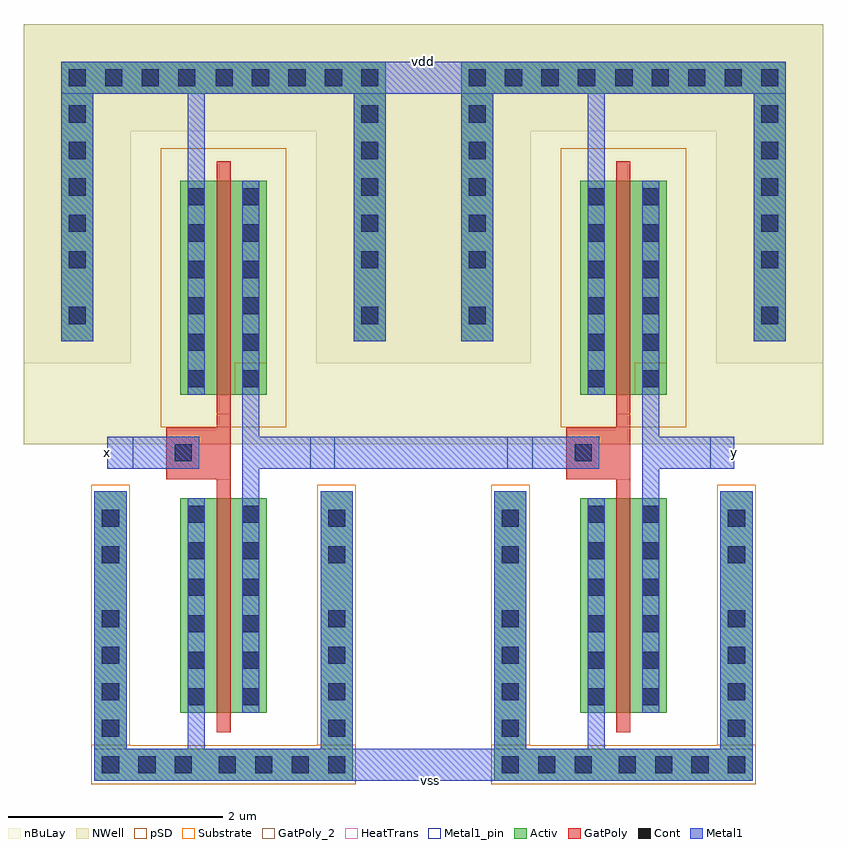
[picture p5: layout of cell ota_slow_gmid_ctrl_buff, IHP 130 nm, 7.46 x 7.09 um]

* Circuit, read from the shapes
.subckt ota_slow_gmid_ctrl_buff vdd vss x y
XM1 ota_slow_gmid_ctrl_inv_1/x x vss vss sg13_lv_nmos w=2u l=0.13u
XM2 y ota_slow_gmid_ctrl_inv_1/x vss vss sg13_lv_nmos w=2u l=0.13u
XM3 ota_slow_gmid_ctrl_inv_1/x x vdd vdd sg13_lv_pmos w=2u l=0.13u
XM4 y ota_slow_gmid_ctrl_inv_1/x vdd vdd sg13_lv_pmos w=2u l=0.13u
.ends

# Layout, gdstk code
import gdstk
lib = gdstk.Library(unit=1e-6, precision=1e-09)
def R(c, l, rs):  # rectangles x0, y0, x1, y1
    for r in rs: c.add(gdstk.rectangle(r[:2], r[2:], *l))
def A(c, l, x, y, w, h, nx, ny, dx, dy):  # array of equal rectangles
    R(c, l, [(x+i*dx, y+j*dy, x+i*dx+w, y+j*dy+h) for i in range(nx) for j in range(ny)])
Activ = (1, 0)
GatPoly = (5, 0)
GatPoly_2 = (5, 2)
Cont = (6, 0)
Metal1 = (8, 0)
Metal1_pin = (8, 2)
pSD = (14, 0)
NWell = (31, 0)
nBuLay = (32, 0)
Substrate = (40, 0)
HeatTrans = (51, 0)

via_stack_16_1 = lib.new_cell('via_stack$16$1')
R(via_stack_16_1, GatPoly, [(-0.15,-0.15,0.15,0.15)])
R(via_stack_16_1, Cont, [(-0.08,-0.08,0.08,0.08)])
R(via_stack_16_1, Metal1, [(-0.13,-0.08,0.13,0.08)])

nmos_3 = lib.new_cell('nmos$3')
R(nmos_3, Activ, [(0,0,0.3,0.3), (0,0,0.81,2), (0.51,0,0.81,0.3)])
R(nmos_3, GatPoly, [(0.34,-0.18,0.47,2.18)])
R(nmos_3, GatPoly_2, [(0.34,-0.18,0.47,2.18)])
A(nmos_3, Cont, 0.07, 0.07, 0.16, 0.16, 1, 6, 0, 0.34)
A(nmos_3, Cont, 0.58, 0.07, 0.16, 0.16, 1, 6, 0, 0.34)
R(nmos_3, Metal1, [(0.07,0,0.23,2), (0.58,0,0.74,2)])
R(nmos_3, Metal1_pin, [(0.07,0,0.23,2), (0.58,0,0.74,2)])
R(nmos_3, HeatTrans, [(0.34,-0.18,0.47,2.18)])
nmos_3.add(gdstk.Label('nmos', (0.405,1), layer=63, texttype=0))
nmos_3.add(gdstk.Label('nmos', (0.405,1), layer=51, texttype=0))

pmos_7 = lib.new_cell('pmos$7')
R(pmos_7, Activ, [(0,0,0.3,0.3), (0,0,0.81,2), (0.51,0,0.81,0.3)])
R(pmos_7, GatPoly, [(0.34,-0.18,0.47,2.18), (0.34,-0.18,0.47,2.18)])
A(pmos_7, Cont, 0.07, 0.07, 0.16, 0.16, 1, 6, 0, 0.34)
A(pmos_7, Cont, 0.58, 0.07, 0.16, 0.16, 1, 6, 0, 0.34)
R(pmos_7, Metal1, [(0.07,0,0.23,2), (0.07,0,0.23,2), (0.58,0,0.74,2), (0.58,0,0.74,2)])
R(pmos_7, pSD, [(-0.18,-0.3,0.99,2.3)])
R(pmos_7, NWell, [(-0.31,-0.31,1.12,2.31)])
R(pmos_7, Substrate, [(0.51,0,0.81,0.3)])
R(pmos_7, HeatTrans, [(0.34,-0.18,0.47,2.18)])
pmos_7.add(gdstk.Label('pmos', (0.405,1), layer=63, texttype=0))
pmos_7.add(gdstk.Label('pmos', (0.405,1), layer=51, texttype=0))

ota_slow_gmid_ctrl_inv = lib.new_cell('ota_slow_gmid_ctrl_inv')
R(ota_slow_gmid_ctrl_inv, Activ, [(0.66,0.375,3.07,0.675), (0.66,0.675,0.96,3.075), (2.77,0.675,3.07,3.075), (0.35,4.475,0.65,6.785), (3.08,4.475,3.38,6.785), (0.35,6.785,3.38,7.085)])
R(ota_slow_gmid_ctrl_inv, GatPoly, [(1.8,3.065,1.93,3.945), (1.33,3.19,1.8,3.67)])
A(ota_slow_gmid_ctrl_inv, Cont, 0.73, 0.445, 0.16, 0.16, 3, 1, 0.34, 0)
A(ota_slow_gmid_ctrl_inv, Cont, 1.82, 0.445, 0.16, 0.16, 4, 1, 0.34, 0)
A(ota_slow_gmid_ctrl_inv, Cont, 0.73, 0.785, 0.16, 0.16, 1, 4, 0, 0.34)
A(ota_slow_gmid_ctrl_inv, Cont, 2.84, 0.785, 0.16, 0.16, 1, 4, 0, 0.34)
A(ota_slow_gmid_ctrl_inv, Cont, 0.42, 5.155, 0.16, 0.16, 1, 5, 0, 0.34)
A(ota_slow_gmid_ctrl_inv, Cont, 3.15, 5.155, 0.16, 0.16, 1, 5, 0, 0.34)
A(ota_slow_gmid_ctrl_inv, Cont, 0.42, 6.855, 0.16, 0.16, 4, 1, 0.34, 0)
A(ota_slow_gmid_ctrl_inv, Cont, 1.79, 6.855, 0.16, 0.16, 5, 1, 0.34, 0)
R(ota_slow_gmid_ctrl_inv, Cont, [(0.73,2.405,0.89,2.565), (2.84,2.405,3,2.565), (0.73,2.745,0.89,2.905), (2.84,2.745,3,2.905), (0.42,4.635,0.58,4.795), (3.15,4.635,3.31,4.795)])
R(ota_slow_gmid_ctrl_inv, Metal1, [(0.66,0.375,3.07,0.675), (1.53,0.4,1.69,1.345), (0.66,0.675,0.96,3.075), (2.77,0.675,3.07,3.075), (2.04,2.615,2.2,4.25), (0.78,3.285,1.64,3.585), (2.04,3.285,2.9,3.585), (0.35,4.475,0.65,6.785), (3.08,4.475,3.38,6.785), (1.53,5.725,1.69,7.085), (0.35,6.785,3.38,7.085)])
R(ota_slow_gmid_ctrl_inv, Metal1_pin, [(0.66,0.375,3.07,0.675), (0.78,3.285,1.02,3.585), (2.675,3.285,2.9,3.585), (0.35,6.785,3.38,7.085)])
R(ota_slow_gmid_ctrl_inv, pSD, [(0.63,0.345,3.1,0.705), (0.63,0.705,0.99,3.135), (2.74,0.705,3.1,3.135)])
R(ota_slow_gmid_ctrl_inv, NWell, [(0,3.515,3.73,7.435)])
R(ota_slow_gmid_ctrl_inv, nBuLay, [(0,4.27,1,6.435), (2.73,4.27,3.73,6.435), (0,6.435,3.73,7.435)])
R(ota_slow_gmid_ctrl_inv, Substrate, [(0.63,0.705,0.99,3.135), (2.74,0.705,3.1,3.135)])
ota_slow_gmid_ctrl_inv.add(gdstk.Reference(via_stack_16_1, (1.49,3.435)))
ota_slow_gmid_ctrl_inv.add(gdstk.Reference(nmos_3, (1.46,1.01)))
ota_slow_gmid_ctrl_inv.add(gdstk.Reference(pmos_7, (1.46,3.975)))
ota_slow_gmid_ctrl_inv.add(gdstk.Label('sub!', (1.865,0.525), layer=63, texttype=0))
ota_slow_gmid_ctrl_inv.add(gdstk.Label('vdd', (1.865,7.085), layer=8, texttype=2))
ota_slow_gmid_ctrl_inv.add(gdstk.Label('x', (0.78,3.435), layer=8, texttype=2))
ota_slow_gmid_ctrl_inv.add(gdstk.Label('y', (2.9,3.435), layer=8, texttype=2))
ota_slow_gmid_ctrl_inv.add(gdstk.Label('vss', (1.865,0.375), layer=8, texttype=2))

ota_slow_gmid_ctrl_buff = lib.new_cell('ota_slow_gmid_ctrl_buff')
R(ota_slow_gmid_ctrl_buff, Metal1, [(-1.125,0.375,1.255,0.675), (-1.045,3.285,1.155,3.585), (-0.91,6.785,0.76,7.085)])
R(ota_slow_gmid_ctrl_buff, Metal1_pin, [(-3.07,0.375,3.07,0.675), (-3.38,6.785,3.38,7.085)])
ota_slow_gmid_ctrl_buff.add(gdstk.Reference(ota_slow_gmid_ctrl_inv, (-3.73,0)))
ota_slow_gmid_ctrl_buff.add(gdstk.Reference(ota_slow_gmid_ctrl_inv, (0,0)))
ota_slow_gmid_ctrl_buff.add(gdstk.Label('vdd', (0,7.085), layer=8, texttype=2))
ota_slow_gmid_ctrl_buff.add(gdstk.Label('vss', (0.065,0.375), layer=8, texttype=2))
ota_slow_gmid_ctrl_buff.add(gdstk.Label('x', (-2.95,3.435), layer=8, texttype=2))
ota_slow_gmid_ctrl_buff.add(gdstk.Label('y', (2.9,3.435), layer=8, texttype=2))

lib.write_gds('ota_slow_gmid_ctrl_buff.gds')
